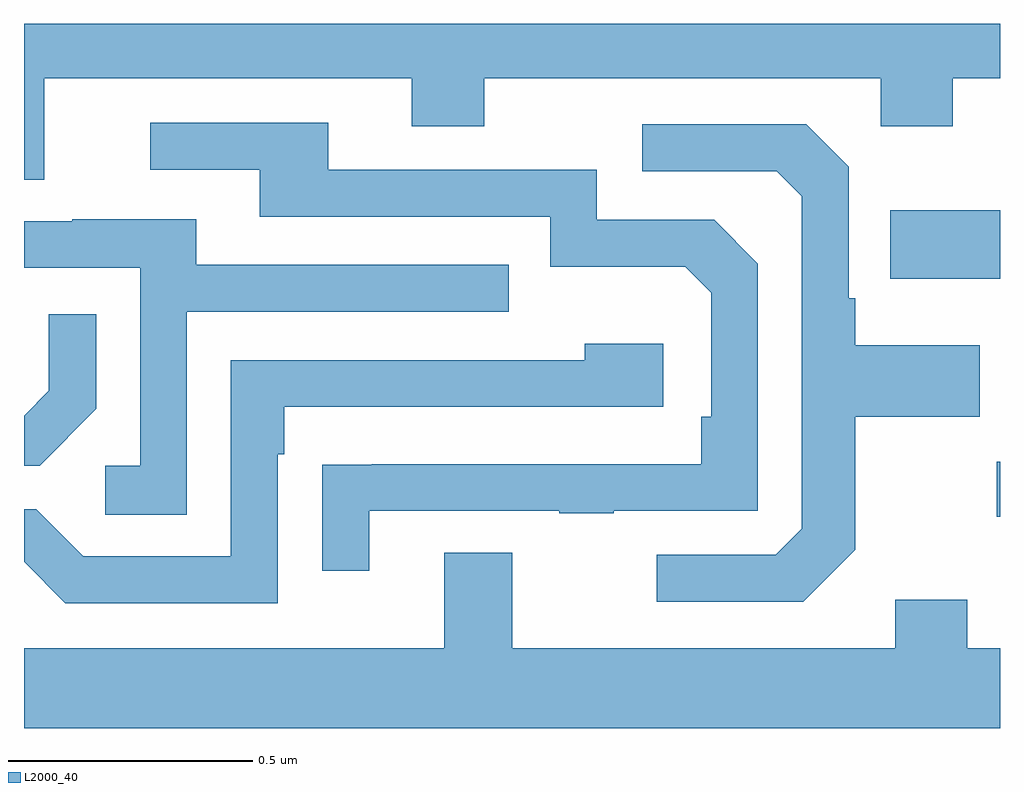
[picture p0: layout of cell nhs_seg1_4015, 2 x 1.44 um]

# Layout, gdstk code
import gdstk
lib = gdstk.Library(unit=1e-6, precision=1e-09)
def R(c, l, rs):  # rectangles x0, y0, x1, y1
    for r in rs: c.add(gdstk.rectangle(r[:2], r[2:], *l))
def P(c, l, *ps):  # polygons
    for p in ps: c.add(gdstk.Polygon(p, *l))
L2000_40 = (2000, 40)

nhs_seg1_4015 = lib.new_cell('nhs_seg1_4015')
R(nhs_seg1_4015, L2000_40, [(162.993,528.189,163,528.302), (162.775,528.677,163,528.817)])
P(nhs_seg1_4015, L2000_40, [(161.041,529.088),(161.795,529.088),(161.795,528.989),(161.943,528.989),(161.943,529.088),(162.756,529.088),(162.756,528.989),(162.903,528.989),(162.903,529.088),(163,529.088),(163,529.199),(161,529.199),(161,528.88),(161.041,528.88)],
  [(161.707,528.201),(162.097,528.201),(162.097,528.196),(162.209,528.196),(162.209,528.201),(162.504,528.201),(162.504,528.708),(162.414,528.798),(162.174,528.798),(162.174,528.9),(161.623,528.9),(161.623,528.996),(161.259,528.996),(161.259,528.9),(161.483,528.9),(161.483,528.804),(162.078,528.804),(162.078,528.701),(162.355,528.701),(162.408,528.648),(162.408,528.394),(162.388,528.394),(162.388,528.297),(161.713,528.297),(161.713,528.296),(161.611,528.296),(161.611,528.078),(161.707,528.078)],
  [(162.703,528.121),(162.703,528.394),(162.959,528.394),(162.959,528.541),(162.703,528.541),(162.703,528.637),(162.69,528.637),(162.69,528.906),(162.603,528.993),(162.267,528.993),(162.267,528.897),(162.543,528.897),(162.594,528.846),(162.594,528.165),(162.54,528.111),(162.297,528.111),(162.297,528.015),(162.597,528.015)],
  [(161.334,528.609),(161.993,528.609),(161.993,528.705),(161.353,528.705),(161.353,528.799),(161.099,528.799),(161.099,528.795),(161,528.795),(161,528.699),(161.238,528.699),(161.238,528.294),(161.166,528.294),(161.166,528.193),(161.334,528.193)],
  [(161.148,528.41),(161.148,528.604),(161.051,528.604),(161.051,528.447),(161,528.396),(161,528.294),(161.032,528.294)],
  [(161.52,528.317),(161.533,528.317),(161.533,528.414),(162.31,528.414),(162.31,528.544),(162.149,528.544),(162.149,528.51),(161.424,528.51),(161.424,528.108),(161.121,528.108),(161.025,528.204),(161,528.204),(161,528.097),(161.085,528.012),(161.52,528.012)],
  [(163,527.92),(162.933,527.92),(162.933,528.019),(162.785,528.019),(162.785,527.92),(162.001,527.92),(162.001,528.115),(161.861,528.115),(161.861,527.92),(161,527.92),(161,527.756),(163,527.756)])

lib.write_gds('nhs_seg1_4015.gds')
